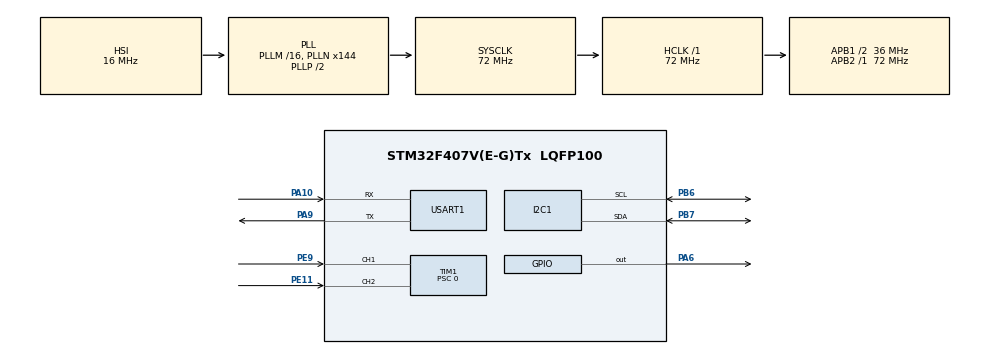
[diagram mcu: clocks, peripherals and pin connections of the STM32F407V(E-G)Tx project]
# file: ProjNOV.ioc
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Dma.Request0=USART1_TX
Dma.USART1_TX.0.Direction=DMA_MEMORY_TO_PERIPH
Dma.USART1_TX.0.FIFOMode=DMA_FIFOMODE_DISABLE
Dma.USART1_TX.0.Instance=DMA2_Stream7
Dma.USART1_TX.0.MemDataAlignment=DMA_MDATAALIGN_BYTE
Dma.USART1_TX.0.MemInc=DMA_MINC_ENABLE
Dma.USART1_TX.0.Mode=DMA_CIRCULAR
Dma.USART1_TX.0.PeriphDataAlignment=DMA_PDATAALIGN_BYTE
Dma.USART1_TX.0.PeriphInc=DMA_PINC_DISABLE
Dma.USART1_TX.0.Priority=DMA_PRIORITY_LOW
I2C1.I2C_Mode=I2C_Fast
Mcu.Family=STM32F4
Mcu.Name=STM32F407V(E-G)Tx
Mcu.Package=LQFP100
NVIC.DMA2_Stream7_IRQn=true\:0\:0\:false\:false\:true\:false\:true\:true
NVIC.PriorityGroup=NVIC_PRIORITYGROUP_4
NVIC.TIM1_BRK_TIM9_IRQn=true\:0\:0\:false\:false\:true\:true\:true\:true
NVIC.TIM1_CC_IRQn=true\:0\:0\:false\:false\:true\:true\:true\:true
NVIC.TIM1_TRG_COM_TIM11_IRQn=true\:0\:0\:false\:false\:true\:true\:true\:true
NVIC.TIM1_UP_TIM10_IRQn=true\:0\:0\:false\:false\:true\:true\:true\:true
NVIC.USART1_IRQn=true\:0\:0\:false\:false\:true\:true\:true\:true
PA10.Mode=Asynchronous
PA10.Signal=USART1_RX
PA13.Mode=Serial_Wire
PA13.Signal=SYS_JTMS-SWDIO
PA14.Mode=Serial_Wire
PA14.Signal=SYS_JTCK-SWCLK
PA6.Signal=GPIO_Output
PA9.Mode=Asynchronous
PA9.Signal=USART1_TX
PB6.Mode=I2C
PB6.Signal=I2C1_SCL
PB7.Mode=I2C
PB7.Signal=I2C1_SDA
PE11.Signal=S_TIM1_CH2
PE9.Signal=S_TIM1_CH1
ProjectManager.HeapSize=0x200
ProjectManager.StackSize=0x400
ProjectManager.TargetToolchain=STM32CubeIDE
RCC.48MHZClocksFreq_Value=36000000
RCC.AHBFreq_Value=72000000
RCC.APB1CLKDivider=RCC_HCLK_DIV2
RCC.APB1Freq_Value=36000000
RCC.APB1TimFreq_Value=72000000
RCC.APB2Freq_Value=72000000
RCC.APB2TimFreq_Value=72000000
RCC.CortexFreq_Value=72000000
RCC.HCLKFreq_Value=72000000
RCC.HSE_VALUE=25000000
RCC.HSI_VALUE=16000000
RCC.LSE_VALUE=32768
RCC.PLLN=144
RCC.SYSCLKFreq_VALUE=72000000
RCC.SYSCLKSource=RCC_SYSCLKSOURCE_PLLCLK
RCC.VCOOutputFreq_Value=144000000
SH.S_TIM1_CH1.0=TIM1_CH1,Encoder_Interface
SH.S_TIM1_CH2.0=TIM1_CH2,Encoder_Interface
TIM1.EncoderMode=TIM_ENCODERMODE_TI12
TIM1.IC1Polarity=TIM_ICPOLARITY_FALLING
TIM1.IC2Polarity=TIM_ICPOLARITY_FALLING
TIM1.Prescaler=0
USART1.VirtualMode=VM_ASYNC
board=custom

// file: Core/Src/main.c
/* USER CODE BEGIN Header */
/**
  ******************************************************************************
  * @file           : main.c
  * @brief          : Main program body
  ******************************************************************************
  * @attention
  *
  * Copyright (c) 2024 STMicroelectronics.
  * All rights reserved.
  *
  * This software is licensed under terms that can be found in the LICENSE file
  * in the root directory of this software component.
  * If no LICENSE file comes with this software, it is provided AS-IS.
  *
  ******************************************************************************
  */
/* USER CODE END Header */
#include "main.h"

/* USER CODE BEGIN Includes */

#include <stdio.h>
#include <string.h>
#include <MPU9250.h>
//#include <ssd1306.h>
//#include <ssd1306_conf.h>
//#include <ssd1306_fonts.h>
//#include <ssd1306_tests.h>

/* USER CODE END Includes */

I2C_HandleTypeDef hi2c1;

TIM_HandleTypeDef htim1;

UART_HandleTypeDef huart1;
DMA_HandleTypeDef hdma_usart1_tx;

/* USER CODE BEGIN PV */

Gyro_HandleTypeDef		Gyr;
Accel_HandleTypeDef		Acc;
Magneto_HandleTypeDef	Mag;
IMU_HandleTypeDef		MPU9250;

/* USER CODE END PV */

void SystemClock_Config(void);
static void MX_GPIO_Init(void);
static void MX_DMA_Init(void);
static void MX_TIM1_Init(void);
static void MX_USART1_UART_Init(void);
static void MX_I2C1_Init(void);

/* USER CODE BEGIN 0 */
uint32_t Counter_1=0;
int16_t Count_1=0;

int16_t position_1=0;
int speed_1=0;
int trig=0;
char ENC_DMA_DATA_BUFF[28];

void HAL_TIM_IC_CaptureCallback (TIM_HandleTypeDef *htim)
{
	if(htim == &htim1)
	{
		Counter_1= __HAL_TIM_GetCounter(htim);
		//uint8_t ENC_DMA_DATA_BUFF[]= ;
		Count_1 = (int16_t)Counter_1/4;
		position_1 = Count_1;

		//itoa(Counter_1, ENC_DMA_DATA_BUFF,7);
		//sprintf(ENC_DMA_DATA_BUFF,"%-5ld, %-5ld, %-5ld, %-5ld\n",Counter_1,Counter_1,Counter_1,Counter_1);
		//HAL_Delay(1000);
		//ENC_DMA_DATA_BUFF[6] = '\0';
		//ENC_DMA_DATA_BUFF[6] = '\n';
		//snprintf(ENC_DMA_DATA_BUFF, sizeof(ENC_DMA_DATA_BUFF), "%ld\n", Counter_1);
		//if(Counter_1 == 65535)
		//{
			//for(int i=0;ENC_DMA_DATA_BUFF[i]!=0;i++) {ENC_DMA_DATA_BUFF[i]=0;}
			//memset(ENC_DMA_DATA_BUFF, 0, sizeof(ENC_DMA_DATA_BUFF));
			//HAL_Delay(1000);
		//}
		//ROBOT_SENSOR_DATA.ENC_1 = Counter_1;
	}

}

void HAL_UART_TxCpltCallback(UART_HandleTypeDef *huart)
{
	if (trig==0) {
		trig=1;
		  HAL_GPIO_WritePin(GPIOA, GPIO_PIN_6, GPIO_PIN_RESET);

		  //HAL_GPIO_WritePin(GPIOA, GPIO_PIN_6, GPIO_PIN_RESET);
	//memset(UART_RX_BUFF,0,sizeof(UART_RX_BUFF));
	//HAL_UART_Receive_IT(&huart4, UART_RX_BUFF, size);
	}

	else if(trig == 1)
	{
		trig=0;
		  HAL_GPIO_WritePin(GPIOA, GPIO_PIN_6, GPIO_PIN_SET);
		//HAL_GPIO_WritePin(GPIOA, GPIO_PIN_6, GPIO_PIN_SET);
	}
	//for(int i=0;ENC_DMA_DATA_BUFF[i]!=0;i++) {ENC_DMA_DATA_BUFF[i]=0;}

	//strcpy(ENC_DMA_DATA_BUFF,"0");
	//memset(ENC_DMA_DATA_BUFF, 0, sizeof(ENC_DMA_DATA_BUFF));
	//HAL_Delay(100);
}

/* USER CODE END 0 */

int main(void)
{

  /* MCU Configuration--------------------------------------------------------*/

  /* Reset of all peripherals, Initializes the Flash interface and the Systick. */
  HAL_Init();

  /* USER CODE BEGIN Init */
  //ssd1306_Init();
  MPU9250_Init();
  AK8963_Init();
  /* USER CODE END Init */

  /* Configure the system clock */
  SystemClock_Config();

  /* Initialize all configured peripherals */
  MX_GPIO_Init();
  MX_DMA_Init();
  MX_TIM1_Init();
  MX_USART1_UART_Init();
  MX_I2C1_Init();
  /* USER CODE BEGIN 2 */

  HAL_TIM_Encoder_Start_IT(&htim1, TIM_CHANNEL_ALL);
 // HAL_UART_Transmit_DMA(&huart1, (uint8_t *)ENC_DMA_DATA_BUFF, 28);
  HAL_UART_Transmit_DMA(&huart1, (uint8_t *)MPU9250.Tx_Buff, 180); //sizeof(IMU_DATA_BUFF)

  /* USER CODE END 2 */

  /* Infinite loop */
  while (1)
  {

    /* USER CODE BEGIN 3 */
	  MPU9250_Read_Accel();
	  MPU9250_Read_Gyro();
	  MPU9250_Read_Magnet();
	  sprintf(MPU9250.Tx_Buff,"GYR_X=%-5.2f, GYR_Y=%-5.2f, GYR_Z=%-5.2f\nACC_X=%-5.2f, ACC_Y=%-5.2f, ACC_Z=%-5.2f\nMAG_X=%-5.2f, MAG_Y=%-5.2f, MAG_Z=%-5.2f\n\n",
			   Gyr.X, Gyr.Y, Gyr.Z, Acc.X, Acc.Y, Acc.Z, Mag.X, Mag.Y, Mag.Z);
//	  ssd1306_SetCursor(0, 4);
//	  ssd1306_WriteString("Hello world", Font_16x24, White);
//	  ssd1306_UpdateScreen();
	 // ssd1306_TestBorder();
	 // HAL_UART_Transmit_DMA(&huart4, ENC_DMA_DATA_BUFF, 10);
	  //HAL_UART_Transmit_IT(&huart1, ENC_DMA_DATA_BUFF, 10);
	  HAL_UART_Transmit_DMA(&huart1, (uint8_t *)MPU9250.Tx_Buff, 10);
	  //HAL_GPIO_WritePin(GPIOA, GPIO_PIN_6, GPIO_PIN_RESET);
	  //HAL_Delay(1000);
	  //HAL_GPIO_WritePin(GPIOA, GPIO_PIN_6, GPIO_PIN_SET);
	 // HAL_Delay(1000);

  }
  /* USER CODE END 3 */
}

void SystemClock_Config(void)
{
  RCC_OscInitTypeDef RCC_OscInitStruct = {0};
  RCC_ClkInitTypeDef RCC_ClkInitStruct = {0};

  /** Configure the main internal regulator output voltage
  */
  __HAL_RCC_PWR_CLK_ENABLE();
  __HAL_PWR_VOLTAGESCALING_CONFIG(PWR_REGULATOR_VOLTAGE_SCALE1);

  /** Initializes the RCC Oscillators according to the specified parameters
  * in the RCC_OscInitTypeDef structure.
  */
  RCC_OscInitStruct.OscillatorType = RCC_OSCILLATORTYPE_HSI;
  RCC_OscInitStruct.HSIState = RCC_HSI_ON;
  RCC_OscInitStruct.HSICalibrationValue = RCC_HSICALIBRATION_DEFAULT;
  RCC_OscInitStruct.PLL.PLLState = RCC_PLL_ON;
  RCC_OscInitStruct.PLL.PLLSource = RCC_PLLSOURCE_HSI;
  RCC_OscInitStruct.PLL.PLLM = 16;
  RCC_OscInitStruct.PLL.PLLN = 144;
  RCC_OscInitStruct.PLL.PLLP = RCC_PLLP_DIV2;
  RCC_OscInitStruct.PLL.PLLQ = 4;
  if (HAL_RCC_OscConfig(&RCC_OscInitStruct) != HAL_OK)
  {
    Error_Handler();
  }

  /** Initializes the CPU, AHB and APB buses clocks
  */
  RCC_ClkInitStruct.ClockType = RCC_CLOCKTYPE_HCLK|RCC_CLOCKTYPE_SYSCLK
                              |RCC_CLOCKTYPE_PCLK1|RCC_CLOCKTYPE_PCLK2;
  RCC_ClkInitStruct.SYSCLKSource = RCC_SYSCLKSOURCE_PLLCLK;
  RCC_ClkInitStruct.AHBCLKDivider = RCC_SYSCLK_DIV1;
  RCC_ClkInitStruct.APB1CLKDivider = RCC_HCLK_DIV2;
  RCC_ClkInitStruct.APB2CLKDivider = RCC_HCLK_DIV1;

  if (HAL_RCC_ClockConfig(&RCC_ClkInitStruct, FLASH_LATENCY_2) != HAL_OK)
  {
    Error_Handler();
  }
}

static void MX_I2C1_Init(void)
{

  hi2c1.Instance = I2C1;
  hi2c1.Init.ClockSpeed = 400000;
  hi2c1.Init.DutyCycle = I2C_DUTYCYCLE_2;
  hi2c1.Init.OwnAddress1 = 0;
  hi2c1.Init.AddressingMode = I2C_ADDRESSINGMODE_7BIT;
  hi2c1.Init.DualAddressMode = I2C_DUALADDRESS_DISABLE;
  hi2c1.Init.OwnAddress2 = 0;
  hi2c1.Init.GeneralCallMode = I2C_GENERALCALL_DISABLE;
  hi2c1.Init.NoStretchMode = I2C_NOSTRETCH_DISABLE;
  if (HAL_I2C_Init(&hi2c1) != HAL_OK)
  {
    Error_Handler();
  }

}

static void MX_TIM1_Init(void)
{

  TIM_Encoder_InitTypeDef sConfig = {0};
  TIM_MasterConfigTypeDef sMasterConfig = {0};

  htim1.Instance = TIM1;
  htim1.Init.Prescaler = 0;
  htim1.Init.CounterMode = TIM_COUNTERMODE_UP;
  htim1.Init.Period = 65535;
  htim1.Init.ClockDivision = TIM_CLOCKDIVISION_DIV1;
  htim1.Init.RepetitionCounter = 0;
  htim1.Init.AutoReloadPreload = TIM_AUTORELOAD_PRELOAD_DISABLE;
  sConfig.EncoderMode = TIM_ENCODERMODE_TI12;
  sConfig.IC1Polarity = TIM_ICPOLARITY_FALLING;
  sConfig.IC1Selection = TIM_ICSELECTION_DIRECTTI;
  sConfig.IC1Prescaler = TIM_ICPSC_DIV1;
  sConfig.IC1Filter = 0;
  sConfig.IC2Polarity = TIM_ICPOLARITY_FALLING;
  sConfig.IC2Selection = TIM_ICSELECTION_DIRECTTI;
  sConfig.IC2Prescaler = TIM_ICPSC_DIV1;
  sConfig.IC2Filter = 0;
  if (HAL_TIM_Encoder_Init(&htim1, &sConfig) != HAL_OK)
  {
    Error_Handler();
  }
  sMasterConfig.MasterOutputTrigger = TIM_TRGO_RESET;
  sMasterConfig.MasterSlaveMode = TIM_MASTERSLAVEMODE_DISABLE;
  if (HAL_TIMEx_MasterConfigSynchronization(&htim1, &sMasterConfig) != HAL_OK)
  {
    Error_Handler();
  }

}

static void MX_USART1_UART_Init(void)
{

  huart1.Instance = USART1;
  huart1.Init.BaudRate = 115200;
  huart1.Init.WordLength = UART_WORDLENGTH_8B;
  huart1.Init.StopBits = UART_STOPBITS_1;
  huart1.Init.Parity = UART_PARITY_NONE;
  huart1.Init.Mode = UART_MODE_TX_RX;
  huart1.Init.HwFlowCtl = UART_HWCONTROL_NONE;
  huart1.Init.OverSampling = UART_OVERSAMPLING_16;
  if (HAL_UART_Init(&huart1) != HAL_OK)
  {
    Error_Handler();
  }

}

static void MX_DMA_Init(void)
{

  /* DMA controller clock enable */
  __HAL_RCC_DMA2_CLK_ENABLE();

  /* DMA interrupt init */
  /* DMA2_Stream7_IRQn interrupt configuration */
  HAL_NVIC_SetPriority(DMA2_Stream7_IRQn, 0, 0);
  HAL_NVIC_EnableIRQ(DMA2_Stream7_IRQn);

}

static void MX_GPIO_Init(void)
{
  GPIO_InitTypeDef GPIO_InitStruct = {0};

  /* GPIO Ports Clock Enable */
  __HAL_RCC_GPIOA_CLK_ENABLE();
  __HAL_RCC_GPIOE_CLK_ENABLE();
  __HAL_RCC_GPIOB_CLK_ENABLE();

  /*Configure GPIO pin Output Level */
  HAL_GPIO_WritePin(GPIOA, GPIO_PIN_6, GPIO_PIN_RESET);

  /*Configure GPIO pin : PA6 */
  GPIO_InitStruct.Pin = GPIO_PIN_6;
  GPIO_InitStruct.Mode = GPIO_MODE_OUTPUT_PP;
  GPIO_InitStruct.Pull = GPIO_NOPULL;
  GPIO_InitStruct.Speed = GPIO_SPEED_FREQ_LOW;
  HAL_GPIO_Init(GPIOA, &GPIO_InitStruct);

}

void Error_Handler(void)
{
  __disable_irq();
  while (1)
  {
  }
}
